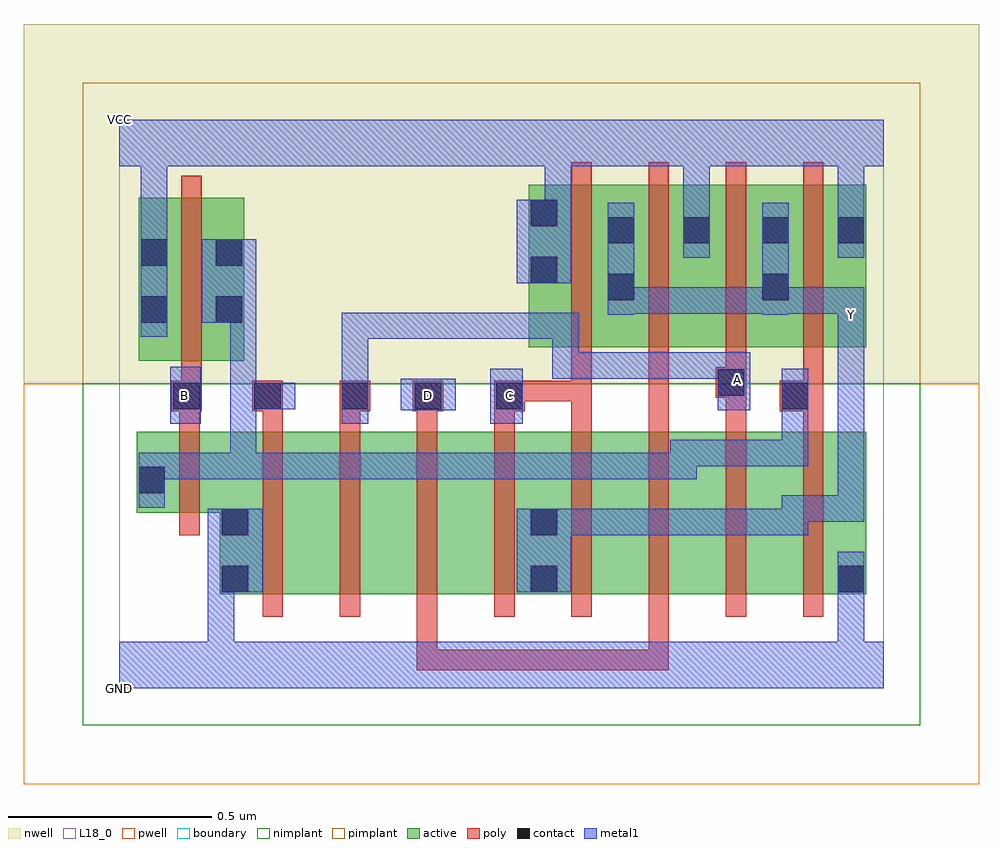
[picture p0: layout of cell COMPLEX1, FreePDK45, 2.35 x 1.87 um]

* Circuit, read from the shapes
.subckt COMPLEX1 A B C D GND VCC Y
M1 GND B n1 VSUBS nfet w=0.2u l=0.05u
M2 n2 n1 GND VSUBS nfet w=0.4u l=0.05u
M3 n3 A n2 VSUBS nfet w=0.4u l=0.05u
M4 n4 D n3 VSUBS nfet w=0.4u l=0.05u
M5 Y C n4 VSUBS nfet w=0.4u l=0.05u
M6 n5 C Y VSUBS nfet w=0.4u l=0.05u
M7 n6 D n5 VSUBS nfet w=0.4u l=0.05u
M8 n7 A n6 VSUBS nfet w=0.4u l=0.05u
M9 GND n1 n7 VSUBS nfet w=0.4u l=0.05u
M10 n1 B VCC n8 pfet w=0.4u l=0.05u
M11 Y C VCC n8 pfet w=0.4u l=0.05u
M12 VCC D Y n8 pfet w=0.4u l=0.05u
M13 Y A VCC n8 pfet w=0.4u l=0.05u
M14 VCC n1 Y n8 pfet w=0.4u l=0.05u
.ends

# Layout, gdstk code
import gdstk
lib = gdstk.Library(unit=1e-6, precision=1e-09)
def R(c, l, rs):  # rectangles x0, y0, x1, y1
    for r in rs: c.add(gdstk.rectangle(r[:2], r[2:], *l))
def A(c, l, x, y, w, h, nx, ny, dx, dy):  # array of equal rectangles
    R(c, l, [(x+i*dx, y+j*dy, x+i*dx+w, y+j*dy+h) for i in range(nx) for j in range(ny)])
active = (1, 0)
pwell = (2, 0)
nwell = (3, 0)
nimplant = (4, 0)
pimplant = (5, 0)
poly = (9, 0)
contact = (10, 0)
metal1 = (11, 0)
L18_0 = (18, 0)
boundary = (235, 0)

complex1 = lib.new_cell('COMPLEX1')
R(complex1, active, [(0.247,0.232,0.472,0.632), (0.247,0.232,0.322,0.597), (0.472,0.232,0.662,0.632), (0.662,0.232,0.852,0.632), (0.852,0.232,1.082,0.632), (1.007,0.232,1.232,0.632), (1.007,0.232,1.082,0.617), (1.232,0.232,1.422,0.632), (1.422,0.232,1.612,0.632), (1.612,0.232,1.837,0.632), (1.762,0.232,1.837,0.632), (0.042,0.432,0.322,0.632), (0.042,0.475,0.117,0.632), (0.047,0.807,0.307,1.207), (0.047,0.807,0.122,1.205), (0.232,0.807,0.307,1.2), (1.007,0.84,1.082,1.24), (1.007,0.84,1.272,1.24), (1.197,0.84,1.457,1.24), (1.382,0.84,1.652,1.24), (1.577,0.84,1.837,1.24), (1.762,0.84,1.837,1.24), (1.197,0.907,1.272,1.2), (1.382,0.907,1.457,1.205), (1.577,0.907,1.652,1.2)])
R(complex1, pwell, [(-0.235,-0.235,2.115,0.75)])
R(complex1, nwell, [(-0.235,0.75,2.115,1.635)])
R(complex1, nimplant, [(-0.09,-0.09,1.97,0.75)])
R(complex1, pimplant, [(-0.09,0.75,1.97,1.49)])
A(complex1, poly, 0.352, 0.177, 0.05, 0.51, 8, 1, 0.19, 0)
A(complex1, poly, 0.352, 0.637, 0.05, 0.095, 4, 1, 0.19, 0)
A(complex1, poly, 1.112, 0.785, 0.05, 0.51, 4, 1, 0.19, 0)
R(complex1, poly, [(0.732,0.045,0.782,0.095), (0.732,0.045,0.782,0.095), (0.732,0.045,0.782,0.095), (0.732,0.045,0.782,0.227), (0.732,0.045,1.03,0.095), (0.98,0.045,1.03,0.095), (0.98,0.045,1.22,0.095), (1.17,0.045,1.22,0.095), (1.17,0.045,1.22,0.095), (1.17,0.045,1.22,0.095), (1.17,0.045,1.352,0.095), (1.302,0.045,1.352,0.095), (1.302,0.045,1.352,0.095), (1.302,0.045,1.352,0.095), (1.302,0.045,1.352,0.227), (0.147,0.377,0.197,0.687), (0.147,0.637,0.197,0.732), (1.112,0.637,1.162,0.757), (1.302,0.637,1.352,0.732), (1.492,0.637,1.542,0.765), (1.682,0.637,1.732,0.732), (0.127,0.682,0.202,0.757), (0.327,0.682,0.402,0.757), (0.542,0.682,0.617,0.757), (0.722,0.682,0.797,0.757), (0.922,0.682,0.997,0.757), (1.302,0.682,1.352,0.835), (1.302,0.682,1.352,0.732), (1.625,0.682,1.732,0.757), (0.152,0.707,0.202,0.802), (0.947,0.707,1.162,0.757), (1.112,0.707,1.162,0.835), (1.112,0.707,1.162,0.757), (1.112,0.707,1.162,0.757), (1.112,0.707,1.162,0.757), (1.682,0.707,1.732,0.835), (1.467,0.715,1.542,0.79), (1.492,0.74,1.542,0.835), (0.152,0.752,0.202,1.262)])
R(complex1, contact, [(0.252,0.237,0.317,0.302), (1.012,0.237,1.077,0.302), (1.767,0.237,1.832,0.302), (0.252,0.377,0.317,0.442), (1.012,0.377,1.077,0.442), (0.047,0.48,0.112,0.545), (0.132,0.687,0.197,0.752), (0.332,0.687,0.397,0.752), (0.547,0.687,0.612,0.752), (0.727,0.687,0.792,0.752), (0.927,0.687,0.992,0.752), (1.63,0.687,1.695,0.752), (1.472,0.72,1.537,0.785), (0.052,0.9,0.117,0.965), (0.237,0.9,0.302,0.965), (1.202,0.955,1.267,1.02), (1.582,0.955,1.647,1.02), (1.012,0.997,1.077,1.062), (0.052,1.04,0.117,1.105), (0.237,1.04,0.302,1.105), (1.202,1.095,1.267,1.16), (1.387,1.095,1.452,1.16), (1.582,1.095,1.647,1.16), (1.767,1.095,1.832,1.16), (1.012,1.137,1.077,1.202)])
R(complex1, metal1, [(0,0,1.88,0.115), (0.217,0.05,0.282,0.302), (1.767,0.05,1.832,0.267), (1.767,0.202,1.832,0.337), (1.767,0.202,1.832,0.267), (1.767,0.202,1.832,0.267), (0.217,0.237,0.282,0.302), (0.217,0.237,0.282,0.302), (0.217,0.237,0.352,0.442), (0.977,0.237,1.112,0.442), (1.047,0.377,1.13,0.442), (1.065,0.377,1.13,0.442), (1.065,0.377,1.267,0.442), (1.202,0.377,1.267,0.442), (1.202,0.377,1.267,0.442), (1.202,0.377,1.267,0.442), (1.202,0.377,1.42,0.442), (1.355,0.377,1.42,0.442), (1.355,0.377,1.557,0.442), (1.492,0.377,1.557,0.442), (1.492,0.377,1.557,0.442), (1.492,0.377,1.557,0.442), (1.492,0.377,1.695,0.442), (1.63,0.377,1.695,0.475), (1.63,0.41,1.832,0.475), (1.767,0.41,1.832,0.475), (1.767,0.41,1.832,0.475), (1.767,0.41,1.832,0.475), (1.767,0.41,1.832,0.917), (0.047,0.445,0.112,0.58), (0.047,0.515,0.112,0.58), (0.047,0.515,0.112,0.58), (0.047,0.515,0.337,0.58), (0.272,0.515,0.337,0.58), (0.272,0.515,0.475,0.58), (0.272,0.515,0.337,0.752), (0.41,0.515,0.475,0.58), (0.41,0.515,0.475,0.58), (0.41,0.515,0.475,0.58), (0.41,0.515,0.612,0.58), (0.547,0.515,0.612,0.58), (0.547,0.515,0.612,0.58), (0.547,0.515,0.612,0.58), (0.547,0.515,0.75,0.58), (0.685,0.515,0.75,0.58), (0.685,0.515,0.75,0.58), (0.685,0.515,0.75,0.58), (0.685,0.515,0.977,0.58), (0.912,0.515,0.977,0.58), (0.912,0.515,1.13,0.58), (1.065,0.515,1.13,0.58), (1.065,0.515,1.13,0.58), (1.065,0.515,1.13,0.58), (1.065,0.515,1.282,0.58), (1.217,0.515,1.282,0.58), (1.217,0.515,1.282,0.58), (1.217,0.515,1.282,0.58), (1.217,0.515,1.42,0.58), (1.355,0.515,1.42,0.58), (1.355,0.515,1.42,0.58), (1.355,0.515,1.42,0.612), (1.355,0.547,1.695,0.612), (1.63,0.547,1.695,0.612), (1.63,0.547,1.695,0.717), (0.125,0.652,0.2,0.792), (0.547,0.652,0.612,0.787), (0.912,0.652,0.992,0.787), (1.63,0.652,1.695,0.787), (1.63,0.652,1.695,0.717), (1.63,0.652,1.695,0.717), (0.692,0.685,0.827,0.762), (1.472,0.685,1.552,0.827), (0.272,0.687,0.337,0.752), (0.272,0.687,0.362,0.752), (0.272,0.687,0.337,0.965), (0.297,0.687,0.432,0.752), (0.547,0.722,0.612,0.787), (0.547,0.722,0.612,0.787), (0.547,0.722,0.612,0.925), (1.065,0.762,1.13,0.827), (1.065,0.762,1.13,0.827), (1.065,0.762,1.13,0.827), (1.065,0.762,1.267,0.827), (1.065,0.762,1.13,0.925), (1.202,0.762,1.267,0.827), (1.202,0.762,1.267,0.827), (1.202,0.762,1.267,0.827), (1.202,0.762,1.42,0.827), (1.355,0.762,1.42,0.827), (1.355,0.762,1.537,0.827), (1.767,0.852,1.832,0.987), (0.547,0.86,0.612,0.925), (0.547,0.86,0.84,0.925), (0.775,0.86,0.84,0.925), (0.775,0.86,0.84,0.925), (0.775,0.86,0.84,0.925), (0.775,0.86,0.977,0.925), (0.912,0.86,0.977,0.925), (0.912,0.86,1.13,0.925), (1.065,0.86,1.13,0.925), (0.052,0.865,0.117,1.14), (0.202,0.9,0.337,1.105), (1.202,0.92,1.267,1.195), (1.582,0.92,1.647,1.195), (1.202,0.922,1.267,0.987), (1.202,0.922,1.267,0.987), (1.202,0.922,1.42,0.987), (1.355,0.922,1.42,0.987), (1.355,0.922,1.42,0.987), (1.355,0.922,1.42,0.987), (1.355,0.922,1.647,0.987), (1.582,0.922,1.832,0.987), (1.767,0.922,1.832,0.987), (1.767,0.922,1.832,0.987), (1.767,0.922,1.832,0.987), (1.767,0.922,1.832,0.987), (0.977,0.997,1.112,1.202), (1.387,1.06,1.452,1.195), (1.767,1.06,1.832,1.195), (0.052,1.075,0.117,1.35), (1.387,1.13,1.452,1.35), (1.767,1.13,1.832,1.35), (1.047,1.137,1.112,1.35), (0,1.285,1.88,1.4)])
R(complex1, L18_0, [(0,0,1.88,0.115), (0.217,0.05,0.282,0.302), (1.767,0.05,1.832,0.267), (1.767,0.202,1.832,0.267), (1.767,0.202,1.832,0.267), (1.767,0.202,1.832,0.337), (0.217,0.237,0.282,0.302), (0.217,0.237,0.282,0.302), (0.217,0.237,0.352,0.442), (0.977,0.237,1.112,0.442), (1.047,0.377,1.13,0.442), (1.065,0.377,1.13,0.442), (1.065,0.377,1.267,0.442), (1.202,0.377,1.267,0.442), (1.202,0.377,1.267,0.442), (1.202,0.377,1.267,0.442), (1.202,0.377,1.42,0.442), (1.355,0.377,1.42,0.442), (1.355,0.377,1.557,0.442), (1.492,0.377,1.557,0.442), (1.492,0.377,1.557,0.442), (1.492,0.377,1.557,0.442), (1.492,0.377,1.695,0.442), (1.63,0.377,1.695,0.475), (1.63,0.41,1.832,0.475), (1.767,0.41,1.832,0.475), (1.767,0.41,1.832,0.475), (1.767,0.41,1.832,0.475), (1.767,0.41,1.832,0.917), (0.125,0.652,0.2,0.792), (0.547,0.652,0.612,0.787), (0.912,0.652,0.992,0.787), (0.692,0.685,0.827,0.762), (1.472,0.685,1.552,0.827), (0.127,0.687,0.192,0.752), (0.727,0.687,0.792,0.752), (0.927,0.687,0.992,0.752), (0.547,0.722,0.612,0.787), (0.547,0.722,0.612,0.787), (0.547,0.722,0.612,0.925), (1.487,0.727,1.552,0.792), (1.065,0.762,1.13,0.827), (1.065,0.762,1.13,0.827), (1.065,0.762,1.13,0.827), (1.065,0.762,1.267,0.827), (1.065,0.762,1.13,0.925), (1.202,0.762,1.267,0.827), (1.202,0.762,1.267,0.827), (1.202,0.762,1.267,0.827), (1.202,0.762,1.42,0.827), (1.355,0.762,1.42,0.827), (1.355,0.762,1.537,0.827), (1.767,0.852,1.832,0.987), (0.547,0.86,0.612,0.925), (0.547,0.86,0.84,0.925), (0.775,0.86,0.84,0.925), (0.775,0.86,0.84,0.925), (0.775,0.86,0.84,0.925), (0.775,0.86,0.977,0.925), (0.912,0.86,0.977,0.925), (0.912,0.86,1.13,0.925), (1.065,0.86,1.13,0.925), (0.052,0.865,0.117,1.14), (1.767,0.887,1.832,0.952), (1.202,0.92,1.267,1.195), (1.582,0.92,1.647,1.195), (1.202,0.922,1.267,0.987), (1.202,0.922,1.267,0.987), (1.202,0.922,1.42,0.987), (1.355,0.922,1.42,0.987), (1.355,0.922,1.42,0.987), (1.355,0.922,1.42,0.987), (1.355,0.922,1.647,0.987), (1.582,0.922,1.832,0.987), (1.767,0.922,1.832,0.987), (1.767,0.922,1.832,0.987), (1.767,0.922,1.832,0.987), (1.767,0.922,1.832,0.987), (0.977,0.997,1.112,1.202), (1.387,1.06,1.452,1.195), (1.767,1.06,1.832,1.195), (0.052,1.075,0.117,1.35), (1.387,1.13,1.452,1.35), (1.767,1.13,1.832,1.35), (1.047,1.137,1.112,1.35), (0,1.285,1.88,1.4)])
R(complex1, boundary, [(0,0,1.88,1.4)])
complex1.add(gdstk.Label('A', (1.52,0.76), layer=11, texttype=0))
complex1.add(gdstk.Label('B', (0.16,0.72), layer=11, texttype=0))
complex1.add(gdstk.Label('C', (0.96,0.72), layer=11, texttype=0))
complex1.add(gdstk.Label('D', (0.76,0.72), layer=11, texttype=0))
complex1.add(gdstk.Label('Y', (1.8,0.92), layer=11, texttype=0))
complex1.add(gdstk.Label('VCC', (0,1.4), layer=11, texttype=0))
complex1.add(gdstk.Label('GND', (0,0), layer=11, texttype=0))

lib.write_gds('COMPLEX1.gds')
